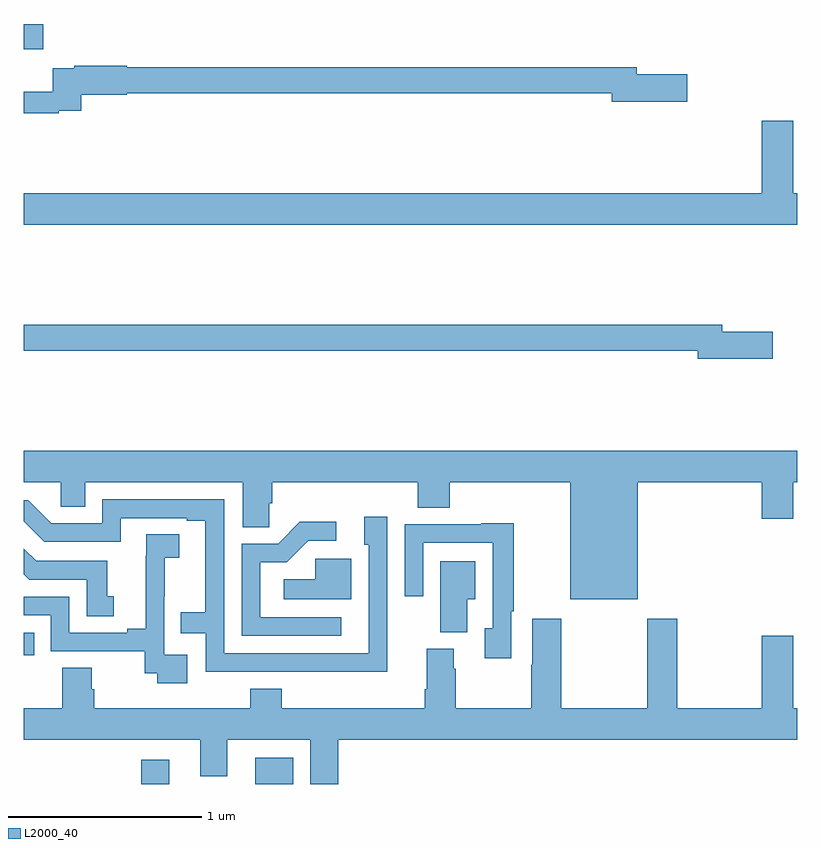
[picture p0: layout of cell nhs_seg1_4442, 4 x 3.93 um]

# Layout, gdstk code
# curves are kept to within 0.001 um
import gdstk
lib = gdstk.Library(unit=1e-6, precision=1e-09)
def R(c, l, rs):  # rectangles x0, y0, x1, y1
    for r in rs: c.add(gdstk.rectangle(r[:2], r[2:], *l))
def P(c, l, *ps):  # polygons
    for p in ps: c.add(gdstk.Polygon(p, *l))
L2000_40 = (2000, 40)

nhs_seg1_4442 = lib.new_cell('nhs_seg1_4442')
R(nhs_seg1_4442, L2000_40, [(353.606,522.199,353.752,522.325), (354.197,522.199,354.393,522.334), (353,522.866,353.054,522.981), (353,526.001,353.101,526.131)])
P(nhs_seg1_4442, L2000_40, [(353.18,525.681),(353.297,525.681),(353.297,525.764),(353.532,525.764),(353.532,525.772),(356.042,525.772),(356.042,525.73),(356.431,525.73),(356.431,525.872),(356.17,525.872),(356.17,525.908),(353.532,525.908),(353.532,525.914),(353.26,525.914),(353.26,525.901),(353.149,525.901),(353.149,525.78),(353,525.78),(353,525.669),(353.18,525.669)],
  [(357,525.256),(356.98,525.256),(356.98,525.631),(356.816,525.631),(356.816,525.256),(353,525.256),(353,525.092),(357,525.092)],
  [(356.875,524.54),(356.614,524.54),(356.614,524.576),(353,524.576),(353,524.44),(356.486,524.44),(356.486,524.398),(356.875,524.398)],
  [(356.176,523.76),(356.816,523.76),(356.816,523.572),(356.98,523.572),(356.98,523.76),(357,523.76),(357,523.924),(353,523.924),(353,523.76),(353.19,523.76),(353.19,523.633),(353.317,523.633),(353.317,523.76),(354.131,523.76),(354.131,523.528),(354.27,523.528),(354.27,523.651),(354.284,523.651),(354.284,523.76),(355.037,523.76),(355.037,523.627),(355.202,523.627),(355.202,523.76),(355.826,523.76),(355.826,523.154),(356.176,523.154)],
  [(354.881,523.082),(354.879,523.082),(354.879,523.582),(354.761,523.582),(354.761,523.437),(354.783,523.437),(354.783,522.876),(354.036,522.876),(354.036,523.671),(353.406,523.671),(353.406,523.548),(353.142,523.548),(353.022,523.668),(353,523.668),(353,523.558),(353.106,523.452),(353.502,523.452),(353.502,523.575),(353.843,523.575),(353.843,523.56),(353.939,523.56),(353.939,523.087),(353.812,523.087),(353.812,522.978),(353.94,522.978),(353.94,522.78),(354.881,522.779)],
  [(354.643,523.062),(354.222,523.062),(354.222,523.347),(354.36,523.347),(354.471,523.458),(354.616,523.458),(354.616,523.556),(354.428,523.556),(354.315,523.443),(354.126,523.443),(354.126,522.966),(354.643,522.966)],
  [(355.521,523.093),(355.534,523.093),(355.534,523.549),(355.365,523.549),(355.365,523.542),(354.969,523.542),(354.969,523.17),(355.065,523.17),(355.065,523.446),(355.425,523.446),(355.425,523.005),(355.385,523.005),(355.385,522.849),(355.521,522.849)],
  [(353.845,522.867),(353.727,522.867),(353.727,523.171),(353.729,523.171),(353.729,523.369),(353.803,523.369),(353.803,523.49),(353.632,523.49),(353.632,523.379),(353.63,523.379),(353.63,523.001),(353.534,523.001),(353.534,522.981),(353.235,522.981),(353.235,523.167),(353,523.167),(353,523.071),(353.139,523.071),(353.139,522.885),(353.626,522.885),(353.626,522.771),(353.689,522.771),(353.689,522.72),(353.845,522.72)],
  [(353.464,523.17),(353.431,523.17),(353.431,523.353),(353.064,523.353),(353,523.417),(353,523.285),(353.028,523.257),(353.324,523.257),(353.324,523.066),(353.464,523.066)],
  [(354.694,523.365),(354.507,523.365),(354.507,523.258),(354.345,523.258),(354.345,523.154),(354.694,523.154)],
  [(355.294,523.154),(355.336,523.154),(355.336,523.351),(355.154,523.351),(355.154,522.985),(355.294,522.985)],
  [(353.363,522.69),(353.35,522.69),(353.35,522.8),(353.198,522.8),(353.198,522.592),(353,522.592),(353,522.428),(353.912,522.428),(353.912,522.238),(354.052,522.238),(354.052,522.428),(354.482,522.428),(354.482,522.199),(354.626,522.199),(354.626,522.428),(357,522.428),(357,522.592),(356.98,522.592),(356.98,522.967),(356.816,522.967),(356.816,522.592),(356.379,522.592),(356.379,523.054),(356.224,523.054),(356.224,522.592),(355.779,522.592),(355.779,523.054),(355.631,523.054),(355.631,522.815),(355.624,522.815),(355.624,522.592),(355.233,522.592),(355.233,522.794),(355.225,522.794),(355.225,522.9),(355.085,522.9),(355.085,522.688),(355.073,522.688),(355.073,522.592),(354.335,522.592),(354.335,522.691),(354.17,522.691),(354.17,522.592),(353.363,522.592)])

lib.write_gds('nhs_seg1_4442.gds')
